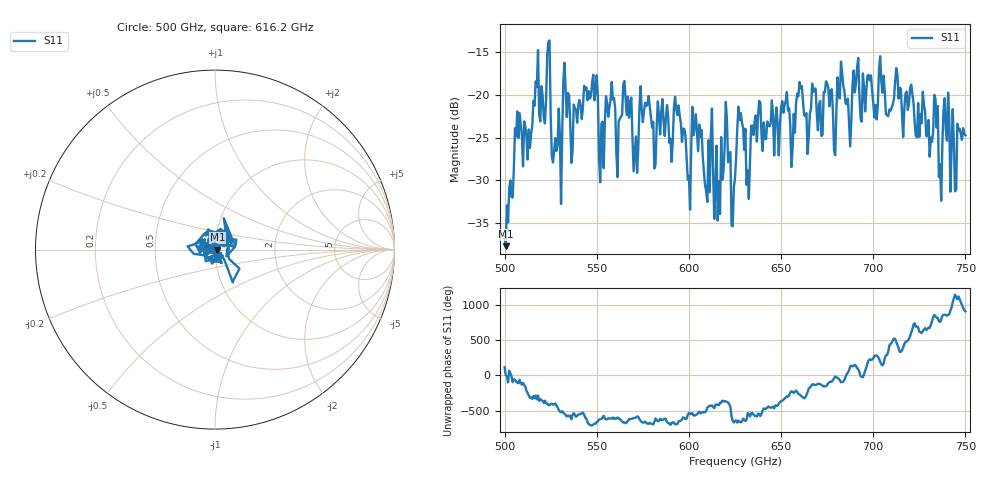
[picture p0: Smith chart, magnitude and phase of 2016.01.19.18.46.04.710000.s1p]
!Created with skrf (http://scikit-rf.org).
# GHz S RI R 50.0
!freq ReS11 ImS11
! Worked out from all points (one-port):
!   401 points, 500 GHz to 750 GHz, reference 50 ohm
!   lowest |S11| = -37.7 dB at 500.6 GHz (marker M1), VSWR 1.03, Z = 51.3 + j0.0302 ohm
!   |S11| at or under -10 dB: start of sweep to end of sweep
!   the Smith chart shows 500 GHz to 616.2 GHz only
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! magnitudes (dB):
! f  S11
! 500 GHz  -36.5
! 500.6 GHz  -37.7
! 506.9 GHz  -21.9
! 513.8 GHz  -26.2
! 516.9 GHz  -18.4
! 523.8 GHz  -13.8
! 526.9 GHz  -26.6
! 531.2 GHz  -24.5
! 548.8 GHz  -20.7
! 552.5 GHz  -23.4
! 558.1 GHz  -18.5
! 562.5 GHz  -22.8
! 593.8 GHz  -22.4
! 600 GHz  -29.5
! 603.1 GHz  -23.8
! 608.8 GHz  -30.6
! 620.6 GHz  -22.9
! 625 GHz  -29.8
! 627.5 GHz  -22.9
! 631.9 GHz  -28.9
! 637.5 GHz  -22.5
! 656.2 GHz  -26.3
! 660 GHz  -18.5
! 687.5 GHz  -26.0
! 718.8 GHz  -21.8
! 736.9 GHz  -32.4
! 739.4 GHz  -24.0
! 750 GHz  -24.7
